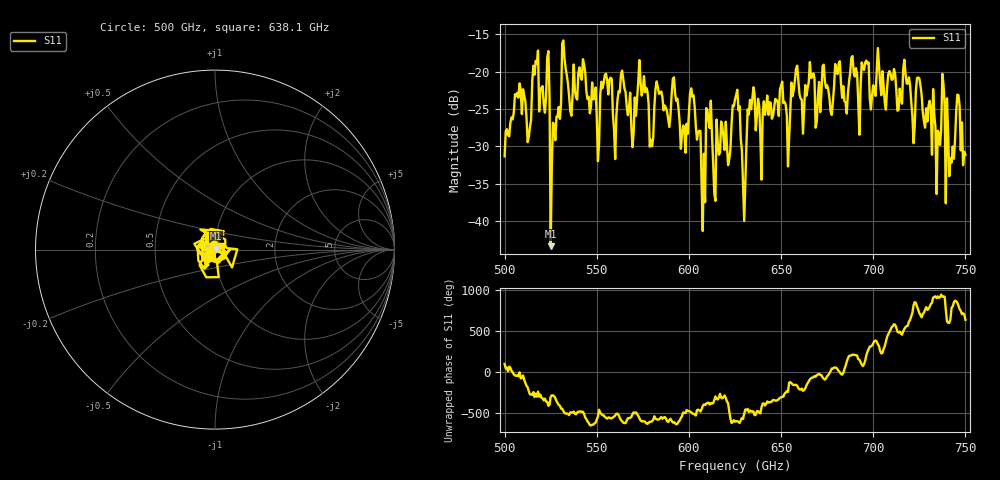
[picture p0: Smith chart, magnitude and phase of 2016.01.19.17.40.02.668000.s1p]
!Created with skrf (http://scikit-rf.org).
# GHz S RI R 50.0
!freq ReS11 ImS11
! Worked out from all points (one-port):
!   401 points, 500 GHz to 750 GHz, reference 50 ohm
!   lowest |S11| = -43.4 dB at 525 GHz (marker M1), VSWR 1.01, Z = 50.3 + j0.616 ohm
!   |S11| at or under -10 dB: start of sweep to end of sweep
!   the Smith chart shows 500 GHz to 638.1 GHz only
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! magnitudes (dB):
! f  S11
! 500 GHz  -31.3
! 506.9 GHz  -22.8
! 513.1 GHz  -28.7
! 516.9 GHz  -18.6
! 523.1 GHz  -18.1
! 525 GHz  -43.4
! 526.2 GHz  -26.8
! 531.2 GHz  -16.2
! 550 GHz  -26.1
! 562.5 GHz  -22.8
! 570 GHz  -28.2
! 574.4 GHz  -23.2
! 580 GHz  -30.0
! 583.1 GHz  -22.1
! 593.8 GHz  -23.6
! 596.9 GHz  -27.2
! 601.9 GHz  -23.4
! 607.5 GHz  -41.3
! 610.6 GHz  -26.5
! 614.4 GHz  -37.3
! 625 GHz  -23.7
! 630 GHz  -40.0
! 634.4 GHz  -23.7
! 656.2 GHz  -23.3
! 687.5 GHz  -20.1
! 718.8 GHz  -21.6
! 745.6 GHz  -23.1
! 750 GHz  -31.1
